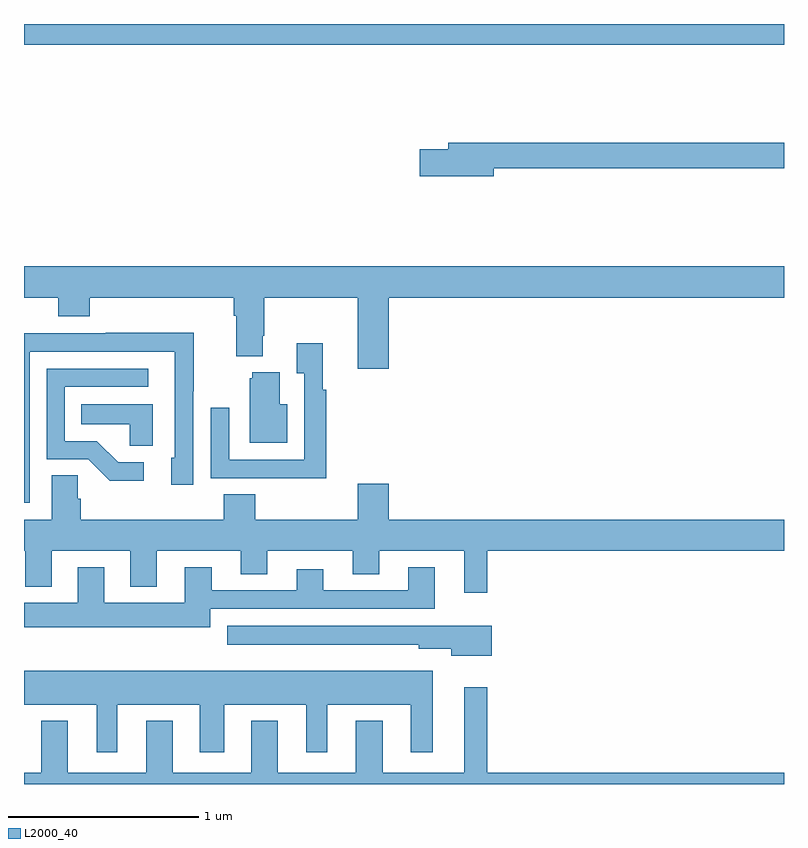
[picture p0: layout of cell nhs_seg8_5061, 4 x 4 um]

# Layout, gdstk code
import gdstk
lib = gdstk.Library(unit=1e-6, precision=1e-09)
def R(c, l, rs):  # rectangles x0, y0, x1, y1
    for r in rs: c.add(gdstk.rectangle(r[:2], r[2:], *l))
def P(c, l, *ps):  # polygons
    for p in ps: c.add(gdstk.Polygon(p, *l))
L2000_40 = (2000, 40)

nhs_seg8_5061 = lib.new_cell('nhs_seg8_5061')
R(nhs_seg8_5061, L2000_40, [(415,1157.792,419,1157.9)])
P(nhs_seg8_5061, L2000_40, [(417.472,1157.14),(419,1157.14),(419,1157.276),(417.233,1157.276),(417.233,1157.24),(417.084,1157.24),(417.084,1157.098),(417.472,1157.098)],
  [(416.92,1156.46),(419,1156.46),(419,1156.624),(415,1156.624),(415,1156.46),(415.181,1156.46),(415.181,1156.361),(415.346,1156.361),(415.346,1156.46),(416.105,1156.46),(416.105,1156.364),(416.117,1156.364),(416.117,1156.151),(416.257,1156.151),(416.257,1156.258),(416.265,1156.258),(416.265,1156.46),(416.756,1156.46),(416.756,1156.086),(416.92,1156.086)],
  [(415.029,1156.176),(415.794,1156.176),(415.794,1155.618),(415.775,1155.618),(415.775,1155.474),(415.89,1155.474),(415.89,1155.967),(415.893,1155.967),(415.893,1156.274),(415.429,1156.274),(415.429,1156.272),(415,1156.272),(415,1155.381),(415.029,1155.381)],
  [(416.591,1155.974),(416.573,1155.974),(416.573,1156.219),(416.435,1156.219),(416.435,1156.063),(416.475,1156.063),(416.475,1155.606),(416.079,1155.606),(416.079,1155.88),(415.983,1155.88),(415.983,1155.51),(416.299,1155.51),(416.299,1155.509),(416.591,1155.509)],
  [(415.63,1155.594),(415.495,1155.594),(415.384,1155.705),(415.215,1155.705),(415.215,1155.99),(415.654,1155.99),(415.654,1156.086),(415.119,1156.086),(415.119,1155.609),(415.338,1155.609),(415.451,1155.497),(415.63,1155.497)],
  [(416.386,1155.898),(416.347,1155.898),(416.347,1156.066),(416.201,1156.066),(416.201,1156.035),(416.189,1156.035),(416.189,1155.695),(416.386,1155.695)],
  [(415.678,1155.898),(415.3,1155.898),(415.3,1155.794),(415.557,1155.794),(415.557,1155.679),(415.678,1155.679)],
  [(417.439,1155.128),(419,1155.128),(419,1155.292),(416.92,1155.292),(416.92,1155.481),(416.756,1155.481),(416.756,1155.292),(416.216,1155.292),(416.216,1155.425),(416.051,1155.425),(416.051,1155.292),(415.298,1155.292),(415.298,1155.401),(415.284,1155.401),(415.284,1155.524),(415.145,1155.524),(415.145,1155.292),(415,1155.292),(415,1155.128),(415.007,1155.128),(415.007,1154.939),(415.147,1154.939),(415.147,1155.128),(415.559,1155.128),(415.559,1154.939),(415.699,1154.939),(415.699,1155.128),(416.141,1155.128),(416.141,1155.004),(416.281,1155.004),(416.281,1155.128),(416.729,1155.128),(416.729,1155.004),(416.869,1155.004),(416.869,1155.128),(417.317,1155.128),(417.317,1154.907),(417.439,1154.907)],
  [(415.981,1154.823),(417.163,1154.823),(417.163,1155.04),(417.023,1155.04),(417.023,1154.919),(416.575,1154.919),(416.575,1155.031),(416.435,1155.031),(416.435,1154.919),(415.987,1154.919),(415.987,1155.04),(415.847,1155.04),(415.847,1154.854),(415.423,1154.854),(415.423,1155.04),(415.283,1155.04),(415.283,1154.854),(415,1154.854),(415,1154.726),(415.981,1154.726)],
  [(417.463,1154.734),(416.07,1154.734),(416.07,1154.633),(417.078,1154.633),(417.078,1154.612),(417.248,1154.612),(417.248,1154.576),(417.463,1154.576)],
  [(415.492,1154.318),(415.925,1154.318),(415.925,1154.067),(416.053,1154.067),(416.053,1154.318),(416.486,1154.318),(416.486,1154.067),(416.596,1154.067),(416.596,1154.318),(417.035,1154.318),(417.035,1154.067),(417.151,1154.067),(417.151,1154.497),(415,1154.497),(415,1154.318),(415.382,1154.318),(415.382,1154.067),(415.492,1154.067)],
  [(419,1153.96),(417.439,1153.96),(417.439,1154.41),(417.317,1154.41),(417.317,1153.96),(416.887,1153.96),(416.887,1154.233),(416.747,1154.233),(416.747,1153.96),(416.335,1153.96),(416.335,1154.233),(416.195,1154.233),(416.195,1153.96),(415.783,1153.96),(415.783,1154.233),(415.643,1154.233),(415.643,1153.96),(415.231,1153.96),(415.231,1154.233),(415.091,1154.233),(415.091,1153.96),(415,1153.96),(415,1153.9),(419,1153.9)])

lib.write_gds('nhs_seg8_5061.gds')
